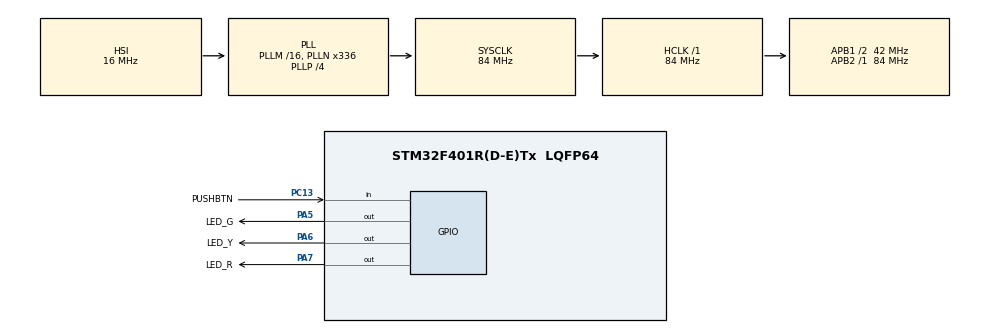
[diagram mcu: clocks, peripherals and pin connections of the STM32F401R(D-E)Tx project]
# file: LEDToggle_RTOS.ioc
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Mcu.Family=STM32F4
Mcu.Name=STM32F401R(D-E)Tx
Mcu.Package=LQFP64
NVIC.PriorityGroup=NVIC_PRIORITYGROUP_4
NVIC.TIM5_IRQn=true\:0\:0\:false\:false\:true\:false\:true\:true
NVIC.TimeBase=TIM5_IRQn
NVIC.TimeBaseIP=TIM5
PA13.GPIO_Label=TMS
PA13.Signal=SYS_JTMS-SWDIO
PA14.GPIO_Label=TCK
PA14.Signal=SYS_JTCK-SWCLK
PA2.GPIO_Label=USART_TX
PA2.GPIO_Mode=GPIO_MODE_AF_PP
PA2.GPIO_PuPd=GPIO_NOPULL
PA2.GPIO_Speed=GPIO_SPEED_FREQ_LOW
PA2.Signal=USART2_TX
PA3.GPIO_Label=USART_RX
PA3.GPIO_Mode=GPIO_MODE_AF_PP
PA3.GPIO_PuPd=GPIO_NOPULL
PA3.GPIO_Speed=GPIO_SPEED_FREQ_LOW
PA3.Signal=USART2_RX
PA5.GPIO_Label=LED_G
PA5.Signal=GPIO_Output
PA6.GPIO_Label=LED_Y
PA6.Signal=GPIO_Output
PA7.GPIO_Label=LED_R
PA7.Signal=GPIO_Output
PB3.GPIO_Label=SWO
PB3.Signal=SYS_JTDO-SWO
PC13-ANTI_TAMP.GPIO_Label=PUSHBTN
PC13-ANTI_TAMP.Signal=GPIO_Input
PC14-OSC32_IN.Signal=RCC_OSC32_IN
PC15-OSC32_OUT.Signal=RCC_OSC32_OUT
PH0\ -\ OSC_IN.Signal=RCC_OSC_IN
PH1\ -\ OSC_OUT.Signal=RCC_OSC_OUT
ProjectManager.HeapSize=0x200
ProjectManager.StackSize=0x400
ProjectManager.TargetToolchain=STM32CubeIDE
RCC.AHBFreq_Value=84000000
RCC.APB1CLKDivider=RCC_HCLK_DIV2
RCC.APB1Freq_Value=42000000
RCC.APB1TimFreq_Value=84000000
RCC.APB2Freq_Value=84000000
RCC.APB2TimFreq_Value=84000000
RCC.CortexFreq_Value=84000000
RCC.HCLKFreq_Value=84000000
RCC.HSE_VALUE=8000000
RCC.HSI_VALUE=16000000
RCC.LSE_VALUE=32768
RCC.PLLN=336
RCC.PLLP=RCC_PLLP_DIV4
RCC.PLLQ=7
RCC.SYSCLKFreq_VALUE=84000000
RCC.SYSCLKSource=RCC_SYSCLKSOURCE_PLLCLK
RCC.VCOOutputFreq_Value=336000000
VP_SYS_VS_tim5.Mode=TIM5
board=NUCLEO-F401RE

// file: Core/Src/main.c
/* USER CODE BEGIN Header */
/**
  ******************************************************************************
  * @file           : main.c
  * @brief          : Main program body
  ******************************************************************************
  * @attention
  *
  * Copyright (c) 2024 STMicroelectronics.
  * All rights reserved.
  *
  * This software is licensed under terms that can be found in the LICENSE file
  * in the root directory of this software component.
  * If no LICENSE file comes with this software, it is provided AS-IS.
  *
  ******************************************************************************
  */
/* USER CODE END Header */
#include "main.h"

/* USER CODE BEGIN Includes */
#include "FreeRTOS.h"
#include "task.h"

/* USER CODE END Includes */

void SystemClock_Config(void);
static void MX_GPIO_Init(void);
/* USER CODE BEGIN PFP */
static void led_green_handler(void *parameters);
static void led_yellow_handler(void *parameters);
static void led_red_handler(void *parameters);
static void button_handler(void *parameters);

/* USER CODE END PFP */

/* USER CODE BEGIN 0 */
TaskHandle_t led_green_handle,led_yellow_handle,led_red_handle, button_handle;
TaskHandle_t volatile next_task_handle;

/* USER CODE END 0 */

int main(void)
{
  /* USER CODE BEGIN 1 */

	next_task_handle = NULL;
	BaseType_t ret;

  /* USER CODE END 1 */

  /* MCU Configuration--------------------------------------------------------*/

  /* Reset of all peripherals, Initializes the Flash interface and the Systick. */
  HAL_Init();

  /* Configure the system clock */
  SystemClock_Config();

  /* Initialize all configured peripherals */
  MX_GPIO_Init();
  /* USER CODE BEGIN 2 */
  ret = xTaskCreate(led_green_handler,"Blink_LED_green_Task",200,NULL,3, &led_green_handle);
  configASSERT(ret==pdPASS);
  next_task_handle = led_green_handle;

  ret = xTaskCreate(led_yellow_handler,"Blink_LED_yellow_Task",200,NULL,2, &led_yellow_handle);
  configASSERT(ret==pdPASS);

  ret = xTaskCreate(led_red_handler,"Blink_LED_red_Task",200,NULL,1, &led_red_handle);
  configASSERT(ret==pdPASS);

  ret = xTaskCreate(button_handler,"Button_press_Task",200,NULL,4, &button_handle);
  configASSERT(ret==pdPASS);

  vTaskStartScheduler();

  /* USER CODE END 2 */

  /* Infinite loop */
  while (1)
  {

  }
}

void SystemClock_Config(void)
{
  RCC_OscInitTypeDef RCC_OscInitStruct = {0};
  RCC_ClkInitTypeDef RCC_ClkInitStruct = {0};

  /** Configure the main internal regulator output voltage
  */
  __HAL_RCC_PWR_CLK_ENABLE();
  __HAL_PWR_VOLTAGESCALING_CONFIG(PWR_REGULATOR_VOLTAGE_SCALE2);

  /** Initializes the RCC Oscillators according to the specified parameters
  * in the RCC_OscInitTypeDef structure.
  */
  RCC_OscInitStruct.OscillatorType = RCC_OSCILLATORTYPE_HSI;
  RCC_OscInitStruct.HSIState = RCC_HSI_ON;
  RCC_OscInitStruct.HSICalibrationValue = RCC_HSICALIBRATION_DEFAULT;
  RCC_OscInitStruct.PLL.PLLState = RCC_PLL_ON;
  RCC_OscInitStruct.PLL.PLLSource = RCC_PLLSOURCE_HSI;
  RCC_OscInitStruct.PLL.PLLM = 16;
  RCC_OscInitStruct.PLL.PLLN = 336;
  RCC_OscInitStruct.PLL.PLLP = RCC_PLLP_DIV4;
  RCC_OscInitStruct.PLL.PLLQ = 7;
  if (HAL_RCC_OscConfig(&RCC_OscInitStruct) != HAL_OK)
  {
    Error_Handler();
  }

  /** Initializes the CPU, AHB and APB buses clocks
  */
  RCC_ClkInitStruct.ClockType = RCC_CLOCKTYPE_HCLK|RCC_CLOCKTYPE_SYSCLK
                              |RCC_CLOCKTYPE_PCLK1|RCC_CLOCKTYPE_PCLK2;
  RCC_ClkInitStruct.SYSCLKSource = RCC_SYSCLKSOURCE_PLLCLK;
  RCC_ClkInitStruct.AHBCLKDivider = RCC_SYSCLK_DIV1;
  RCC_ClkInitStruct.APB1CLKDivider = RCC_HCLK_DIV2;
  RCC_ClkInitStruct.APB2CLKDivider = RCC_HCLK_DIV1;

  if (HAL_RCC_ClockConfig(&RCC_ClkInitStruct, FLASH_LATENCY_2) != HAL_OK)
  {
    Error_Handler();
  }
}

static void MX_GPIO_Init(void)
{
  GPIO_InitTypeDef GPIO_InitStruct = {0};

  /* GPIO Ports Clock Enable */
  __HAL_RCC_GPIOC_CLK_ENABLE();
  __HAL_RCC_GPIOH_CLK_ENABLE();
  __HAL_RCC_GPIOA_CLK_ENABLE();
  __HAL_RCC_GPIOB_CLK_ENABLE();

  /*Configure GPIO pin Output Level */
  HAL_GPIO_WritePin(GPIOA, LED_G_Pin|LED_Y_Pin|LED_R_Pin, GPIO_PIN_RESET);

  /*Configure GPIO pin : PUSHBTN_Pin */
  GPIO_InitStruct.Pin = PUSHBTN_Pin;
  GPIO_InitStruct.Mode = GPIO_MODE_INPUT;
  GPIO_InitStruct.Pull = GPIO_NOPULL;
  HAL_GPIO_Init(PUSHBTN_GPIO_Port, &GPIO_InitStruct);

  /*Configure GPIO pins : USART_TX_Pin USART_RX_Pin */
  GPIO_InitStruct.Pin = USART_TX_Pin|USART_RX_Pin;
  GPIO_InitStruct.Mode = GPIO_MODE_AF_PP;
  GPIO_InitStruct.Pull = GPIO_NOPULL;
  GPIO_InitStruct.Speed = GPIO_SPEED_FREQ_LOW;
  GPIO_InitStruct.Alternate = GPIO_AF7_USART2;
  HAL_GPIO_Init(GPIOA, &GPIO_InitStruct);

  /*Configure GPIO pins : LED_G_Pin LED_Y_Pin LED_R_Pin */
  GPIO_InitStruct.Pin = LED_G_Pin|LED_Y_Pin|LED_R_Pin;
  GPIO_InitStruct.Mode = GPIO_MODE_OUTPUT_PP;
  GPIO_InitStruct.Pull = GPIO_NOPULL;
  GPIO_InitStruct.Speed = GPIO_SPEED_FREQ_LOW;
  HAL_GPIO_Init(GPIOA, &GPIO_InitStruct);

}

/* USER CODE BEGIN 4 */
static void led_green_handler(void *parameters){
	BaseType_t notificationStatus;

	while (1){
		HAL_GPIO_TogglePin(GPIOA,LED_G_Pin);
		//HAL_Delay(1000);
		notificationStatus = xTaskNotifyWait(0,0,NULL,pdMS_TO_TICKS(1000));
		if(notificationStatus==pdPASS){
			vTaskSuspendAll();
			next_task_handle = led_yellow_handle;
			xTaskResumeAll();
			HAL_GPIO_WritePin(GPIOA,LED_G_Pin,GPIO_PIN_SET);
			vTaskDelete(NULL);
		}

	}
}

static void led_yellow_handler(void *parameters){
	BaseType_t notificationStatus;
		while (1){
			HAL_GPIO_TogglePin(GPIOA,LED_Y_Pin);
			//HAL_Delay(1000);
			notificationStatus = xTaskNotifyWait(0,0,NULL,pdMS_TO_TICKS(1000));
			if(notificationStatus==pdPASS){
				vTaskSuspendAll();
				next_task_handle = led_red_handle;
				xTaskResumeAll();
				HAL_GPIO_WritePin(GPIOA,LED_Y_Pin,GPIO_PIN_SET);
				vTaskDelete(NULL);
			}
		}
}

static void led_red_handler(void *parameters){
	BaseType_t notificationStatus;
		while (1){
			HAL_GPIO_TogglePin(GPIOA,LED_R_Pin);
			//HAL_Delay(1000);
			notificationStatus = xTaskNotifyWait(0,0,NULL,pdMS_TO_TICKS(1000));
			if(notificationStatus==pdPASS){
				vTaskSuspendAll();
				next_task_handle = NULL;
				xTaskResumeAll();
				HAL_GPIO_WritePin(GPIOA,LED_R_Pin,GPIO_PIN_SET);
				vTaskDelete(button_handle);
				vTaskDelete(NULL);
			}
		}
}
static void button_handler(void *parameters){
	uint8_t buttonRead = 0;
	uint8_t prevButton = 0;
	while(1){
		buttonRead =  HAL_GPIO_ReadPin(PUSHBTN_GPIO_Port,PUSHBTN_Pin);
		if(buttonRead == 0){
			if(prevButton==1){
				xTaskNotify(next_task_handle,0,eNoAction);
			}

		}
		prevButton=buttonRead;
		vTaskDelay(pdMS_TO_TICKS(10));
	}

}

/* USER CODE END 4 */

void HAL_TIM_PeriodElapsedCallback(TIM_HandleTypeDef *htim)
{
  if (htim->Instance == TIM5) {
    HAL_IncTick();
  }
}

void Error_Handler(void)
{
  __disable_irq();
  while (1)
  {
  }
}
